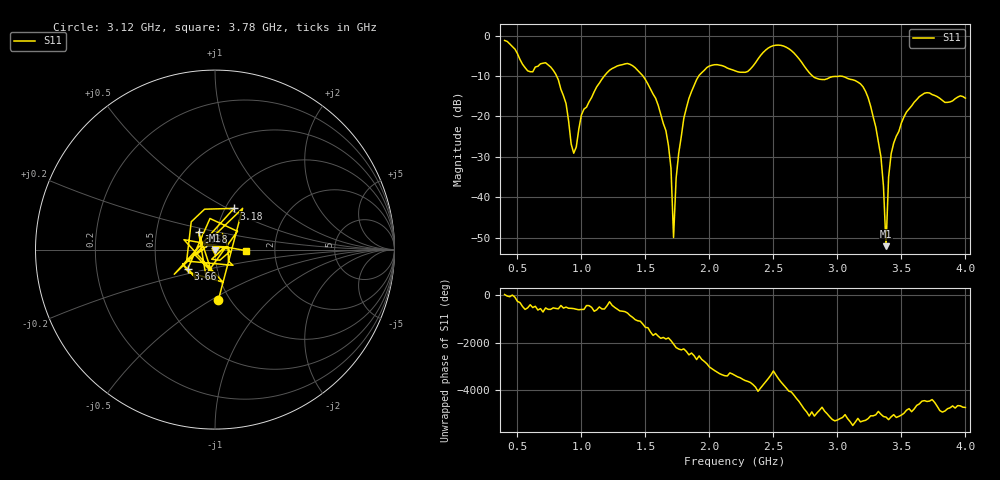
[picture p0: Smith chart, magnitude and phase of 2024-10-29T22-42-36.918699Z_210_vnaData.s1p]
!Created with skrf (http://scikit-rf.org).
# Hz S RI R 50.0
!freq ReS11 ImS11
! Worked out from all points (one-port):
!   181 points, 400 MHz to 4 GHz, reference 50 ohm
!   lowest |S11| = -52.1 dB at 3.38 GHz (marker M1), VSWR 1.00, Z = 50 - j0.248 ohm
!   |S11| at or under -10 dB: 806 MHz to 1.179 GHz (373.1 MHz wide, 37.6 % of centre); 1.481 GHz to 1.917 GHz (436.2 MHz wide, 25.7 % of centre); 2.806 GHz to end of sweep
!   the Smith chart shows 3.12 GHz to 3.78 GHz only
!   S11 on the Smith chart (normalised r, x): 3.12 GHz: 0.88, -0.54; 3.18 GHz: 1.10, +0.54; 3.58 GHz: 0.82, +0.16; 3.66 GHz: 0.72, -0.16; 3.78 GHz: 1.43, -0.02
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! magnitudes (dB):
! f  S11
! 400 MHz  -1.2
! 580 MHz  -8.7
! 760 MHz  -7.8
! 860 MHz  -14.9
! 940 MHz  -29.1
! 1.02 GHz  -18.2
! 1.3 GHz  -7.3
! 1.6 GHz  -17.3
! 1.68 GHz  -27.2
! 1.7 GHz  -32.8
! 1.72 GHz  -49.9
! 1.74 GHz  -35.3
! 1.76 GHz  -29.2
! 1.92 GHz  -9.8
! 2.2 GHz  -8.7
! 2.66 GHz  -4.3
! 3.1 GHz  -10.8
! 3.12 GHz  -10.9
! 3.18 GHz  -11.9
! 3.34 GHz  -30.0
! 3.38 GHz  -52.1
! 3.4 GHz  -35.0
! 3.42 GHz  -29.2
! 3.56 GHz  -18.1
! 3.58 GHz  -17.4
! 3.66 GHz  -14.7
! 3.78 GHz  -15.1
! 4 GHz  -15.5
